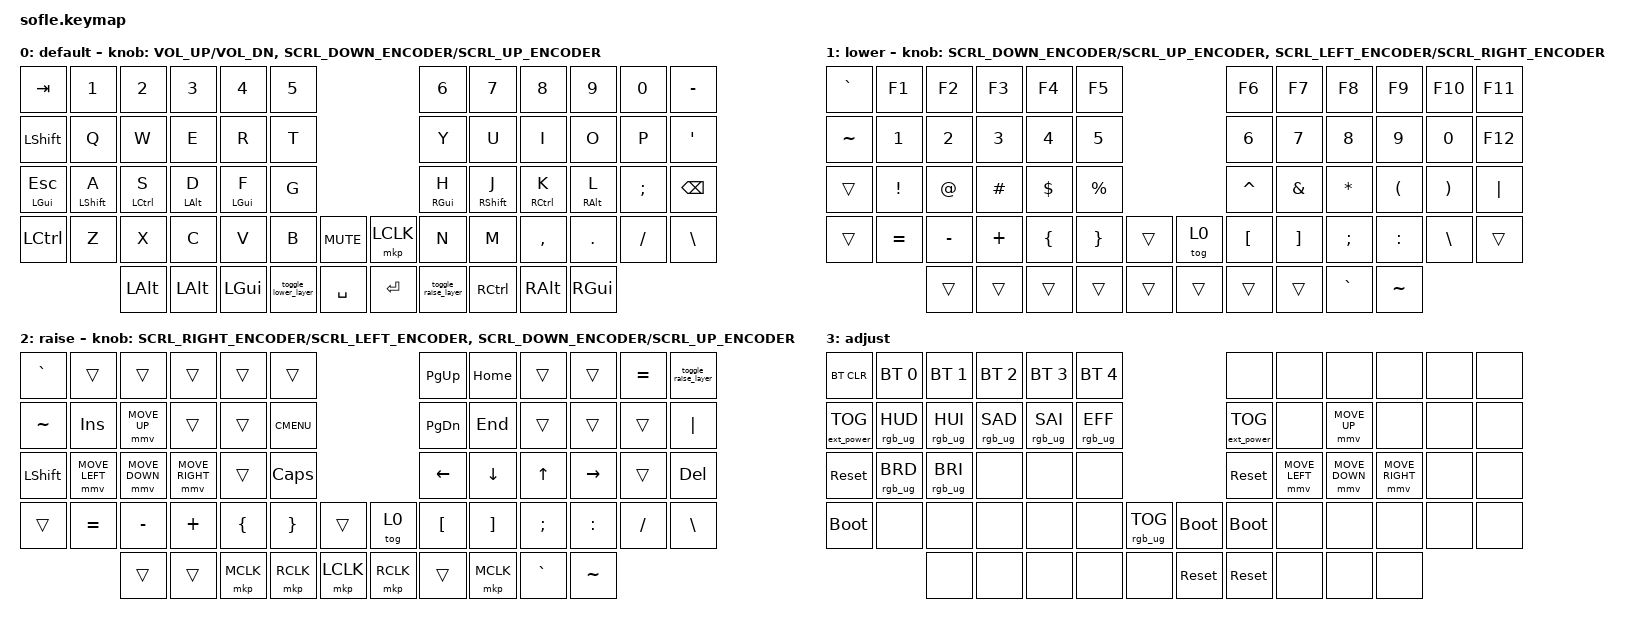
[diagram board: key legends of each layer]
/*
 * Copyright (c) 2020 The ZMK Contributors
 *
 * SPDX-License-Identifier: MIT
 */
////////////////// Mouse pointing ////////////////////// 

#include "mouse.dtsi"

#define ZMK_POINTING_DEFAULT_MOVE_VAL 600  // default: 600
#define ZMK_POINTING_DEFAULT_SCRL_VAL 10    // default: 10

#include <behaviors.dtsi>
#include <dt-bindings/zmk/bt.h>
#include <dt-bindings/zmk/ext_power.h>
#include <dt-bindings/zmk/keys.h>
#include <dt-bindings/zmk/pointing.h>
#include <dt-bindings/zmk/rgb.h>

#define BASE 0
#define LOWER 1
#define RAISE 2
#define ADJUST 3




//////////// Mod-Tap Home Row Mods Definiton //////////////////



&mt {
    compatible = "zmk,behavior-hold-tap";
    label = "HOLD_BEHAVIOUR";
    bindings = <&kp>, <&kp>;

    flavor = "tap-preferred";
    require-prior-idle-ms = <140>;
    tapping-term-ms = <200>;
    quick-tap-ms = <90>;
    retro-tap;
    #binding-cells = <2>;
    hold-trigger-on-release;
};


//////////// End of Mod-Tap Home Row Mods Definiton //////////////////



///////////////////////////// MAIN /////////////////////////////////////////


/ {
    //////////  CONDITIONAL LAYERS Definition ///////////////////////////////

    conditional_layers {
        compatible = "zmk,conditional-layers";

        //////////  1. Activate ADJUST layer by pressing raise and lower ///////

        adjust_layer {
            if-layers = <LOWER RAISE>;
            then-layer = <ADJUST>;
        };
    }; //////////  End of CONDITIONAL LAYERS Definition ///////////////////


    ///////////// Behaviours Definition //////////////////////////

    behaviors {
        //////// 1. Double Tap Raise Layer to Lock Layer ////////////

        toggle_raise_layer: toggle_raise_layer {
            compatible = "zmk,behavior-tap-dance";
            label = "TOGGLE_RAISE_LAYER";
            #binding-cells = <0>;
            bindings = <&mo 2>, <&to 2>, <&to 0>;
        };

        //////// 2. Rotary Encoder use Mouse Scrolling ////////////

        rot_msc: sensor_rotate_kp {
            compatible = "zmk,behavior-sensor-rotate-var";
            #sensor-binding-cells = <2>;
            bindings = <&msc>, <&msc>;
        };

        //////// 3. Double Tap Lower Layer to Lock Layer ////////////

        toggle_lower_layer: toggle_lower_layer {
            compatible = "zmk,behavior-tap-dance";
            label = "TOGGLE_LOWER_LAYER";
            #binding-cells = <0>;
            bindings = <&mo 1>, <&to 1>, <&to 0>;
        };

      //////// 4. Grave double tap to Tilde (EXPERIMENTAL) ////////////
        tilde_tab_tapdance: tilde_tab_tapdance {
            compatible = "zmk,behavior-tap-dance";
            label = "TILDE_TAB_TAPDANCE";
            #binding-cells = <0>;
            bindings = <&kp GRAVE>, <&kp TAB>, <&key_repeat>;
        };
    }; //// End Behaviours ////////////////////////// 

    //////// COMBOS ////////////////////////////////

    combos {
        compatible = "zmk,combos";

 //////// 1. Press Both Thumbs for Mouse middle click ////////////

        combo_middleclick {
            timeout-ms = <50>;
            key-positions = <26 27>;
            bindings = <&kp MCLK>;
        };
    };

    /////// End of COMBOS /////////////////////////





    /////////////////// KEYSCAN ///////////////////////////////////
    // 1. Keyscan enabine wakeup source for deep-sleep 
    // Ref: https://zmk.dev/docs/features/low-power-states#wakeup-sources

    kscan: kscan {
        compatible = "zmk,kscan-gpio-matrix";
        diode-direction = "col2row";
        wakeup-source;
    };

    /////////////////// END OF KEYSCAN ///////////////////////////////////









    ////////////////// KEYMAP /////////////////////////////////////

    keymap {
        compatible = "zmk,keymap";

        /////////// 0. DEFAULT ///////////////

        default_layer {
            display-name = "default";

            // ------------------------------------------------------------------------------------------------------------
            // |   `   |  1  |  2  |  3   |  4   |  5   |                   |  6   |  7    |  8    |  9   |   0   |       |
            // |  ESC  |  Q  |  W  |  E   |  R   |  T   |                   |  Y   |  U    |  I    |  O   |   P   | BKSPC |
            // |  TAB  |  A  |  S  |  D   |  F   |  G   |                   |  H   |  J    |  K    |  L   |   ;   |   '   |
            // | SHIFT |  Z  |  X  |  C   |  V   |  B   |  MUTE  |  |       |  N   |  M    |  ,    |  .   |   /   | SHIFT |
            //               | GUI | ALT  | CTRL | LOWER|  ENTER |  | SPACE | RAISE| CTRL  | ALT   | GUI  |

            bindings = <
&kp TAB              &kp N1            &kp N2        &kp N3        &kp N4          &kp N5                                         &kp N6               &kp N7             &kp N8               &kp N9      &kp N0    &kp MINUS
&kp LEFT_SHIFT       &kp Q             &kp W         &kp E         &kp R           &kp T                                          &kp Y                &kp U              &kp I                &kp O       &kp P     &kp APOSTROPHE
&mt LEFT_GUI ESCAPE  &mt LEFT_SHIFT A  &mt LCTRL S   &mt LALT D    &mt LEFT_GUI F  &kp G                                          &mt RIGHT_GUI H      &mt RIGHT_SHIFT J  &mt RIGHT_CONTROL K  &mt RALT L  &kp SEMI  &kp BACKSPACE
&kp LEFT_CONTROL     &kp Z             &kp X         &kp C         &kp V           &kp B                &kp C_MUTE    &mkp LCLK   &kp N                &kp M              &kp COMMA            &kp DOT     &kp FSLH  &kp BACKSLASH
                                       &kp LEFT_ALT  &kp LEFT_ALT  &kp LEFT_GUI    &toggle_lower_layer  &kp SPACE     &kp RETURN  &toggle_raise_layer  &kp RCTRL          &kp RALT             &kp RGUI
            >;

            // Encoder Left and Right settings

            sensor-bindings = <&inc_dec_kp C_VOL_UP C_VOL_DN &inc_dec_msc SCRL_DOWN_ENCODER SCRL_UP_ENCODER>;
        };  /////////// End of 0. DEFAULT ///////////////
        /////////// 1. LOWER ///////////////

        lower_layer {
            display-name = "lower";

            // TODO: Some binds are waiting for shifted keycode support.
            // ------------------------------------------------------------------------------------------------------------
            // |       |  F1 |  F2 |  F3  |  F4  |  F5  |                   |  F6  |  F7   |  F8   |  F9  |  F10  |  F11  |
            // |   `   |  1  |  2  |  3   |  4   |  5   |                   |  6   |  7    |  8    |  9   |   0   |  F12  |
            // |       |  !  |  @  |  #   |  $   |  %   |                   |  ^   |  &    |  *    |  (   |   )   |   |   |
            // |       |  =  |  -  |  +   |  {   |  }   |        |  |       |  [   |  ]    |  ;    |  :   |   \   |       |
            //               |     |      |      |      |        |  |       |      |       |       |      |

            bindings = <
&kp GRAVE  &kp F1     &kp F2     &kp F3    &kp F4    &kp F5                       &kp F6     &kp F7    &kp F8     &kp F9     &kp F10   &kp F11
&kp TILDE  &kp N1     &kp N2     &kp N3    &kp N4    &kp N5                       &kp N6     &kp N7    &kp N8     &kp N9     &kp N0    &kp F12
&trans     &kp EXCL   &kp AT     &kp HASH  &kp DLLR  &kp PRCNT                    &kp CARET  &kp AMPS  &kp ASTRK  &kp LPAR   &kp RPAR  &kp PIPE
&trans     &kp EQUAL  &kp MINUS  &kp PLUS  &kp LBRC  &kp RBRC   &trans    &tog 0  &kp LBKT   &kp RBKT  &kp SEMI   &kp COLON  &kp BSLH  &trans
                      &trans     &trans    &trans    &trans     &trans    &trans  &trans     &trans    &kp GRAVE  &kp TILDE
            >;

            sensor-bindings = <&inc_dec_msc SCRL_DOWN_ENCODER SCRL_UP_ENCODER &inc_dec_msc SCRL_LEFT_ENCODER SCRL_RIGHT_ENCODER>;
        }; /////////// End of 1. LOWER ///////////////
        /////////// 2. RAISE ///////////////

        raise_layer {
            display-name = "raise";

            // ------------------------------------------------------------------------------------------------------------
            // | BTCLR | BT1  | BT2  |  BT3  |  BT4  |  BT5 |                |      |      |       |      |       |       |
            // |       | INS  | PSCR | GUI   |       |      |                | PGUP |      |   ^   |      |       |       |
            // |       | ALT  | CTRL | SHIFT |       | CAPS |                | PGDN |   <- |   v   |  ->  |  DEL  | BKSPC |
            // |       | UNDO | CUT  | COPY  | PASTE |      |      |  |      |      |      |       |      |       |       |
            //                |      |       |       |      |      |  |      |      |      |       |      |

            bindings = <
&kp GRAVE       &trans          &trans          &trans           &trans     &trans                               &kp PG_UP      &kp HOME   &trans        &trans     &kp EQUAL  &toggle_raise_layer
&kp TILDE       &kp INS         &mmv MOVE_UP    &trans           &trans     &kp K_CMENU                          &kp PAGE_DOWN  &kp END    &trans        &trans     &trans     &kp PIPE
&kp LEFT_SHIFT  &mmv MOVE_LEFT  &mmv MOVE_DOWN  &mmv MOVE_RIGHT  &trans     &kp CLCK                             &kp LEFT       &kp DOWN   &kp UP_ARROW  &kp RIGHT  &trans     &kp DELETE
&trans          &kp EQUAL       &kp MINUS       &kp PLUS         &kp LBRC   &kp RBRC     &trans       &tog 0     &kp LBKT       &kp RBKT   &kp SEMI      &kp COLON  &kp SLASH  &kp BACKSLASH
                                &trans          &trans           &mkp MCLK  &mkp RCLK    &mkp LCLK    &mkp RCLK  &trans         &mkp MCLK  &kp GRAVE     &kp TILDE
            >;

            sensor-bindings = <&inc_dec_msc SCRL_RIGHT_ENCODER SCRL_LEFT_ENCODER  &inc_dec_msc SCRL_DOWN_ENCODER SCRL_UP_ENCODER>;
        }; /////////// End of 2. RAISE ///////////////
        /////////// 3. ADJUST ///////////////

        adjust_layer {
            // ----------------------------------------------------------------------------------------------------------------------------
            // | BTCLR  |  BT1    |  BT2    |   BT3   |   BT4   |   BT5   |                  |      |      |       |      |       |       |
            // | EXTPWR | RGB_HUD | RGB_HUI | RGB_SAD | RGB_SAI | RGB_EFF |                  |      |      |       |      |       |       |
            // |        | RGB_BRD | RGB_BRI |         |         |         |                  |      |      |       |      |       |       |
            // |        |         |         |         |         |         | RGB_TOG | |      |      |      |       |      |       |       |
            //                    |         |         |         |         |         | |      |      |      |       |      |

            display-name = "adjust";
            bindings = <
&bt BT_CLR         &bt BT_SEL 0     &bt BT_SEL 1     &bt BT_SEL 2     &bt BT_SEL 3     &bt BT_SEL 4                                     &none              &none           &none           &none            &none  &none
&ext_power EP_TOG  &rgb_ug RGB_HUD  &rgb_ug RGB_HUI  &rgb_ug RGB_SAD  &rgb_ug RGB_SAI  &rgb_ug RGB_EFF                                  &ext_power EP_TOG  &none           &mmv MOVE_UP    &none            &none  &none
&sys_reset         &rgb_ug RGB_BRD  &rgb_ug RGB_BRI  &none            &none            &none                                            &sys_reset         &mmv MOVE_LEFT  &mmv MOVE_DOWN  &mmv MOVE_RIGHT  &none  &none
&bootloader        &none            &none            &none            &none            &none            &rgb_ug RGB_TOG    &bootloader  &bootloader        &none           &none           &none            &none  &none
                                    &none            &none            &none            &none            &none              &sys_reset   &sys_reset         &none           &none           &none
            >;
        }; /////////// End of 3. ADJUST ///////////////
        extra1 { status = "reserved"; };

        extra2 { status = "reserved"; };
    }; ////////////////// End of KEYMAP /////////////////////////////////////
}; ///////////////////////////// End of MAIN /////////////////////////////////////////
